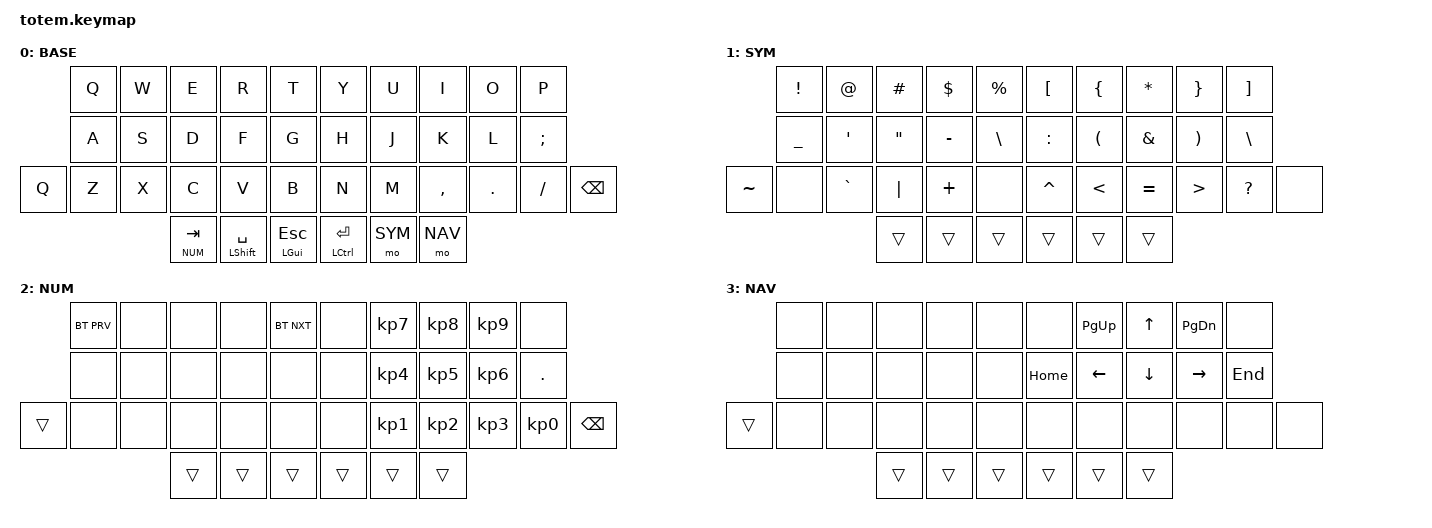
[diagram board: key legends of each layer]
//
//                                                        ▀▀▀▀▀     ▀▀▀▀▀          ▀▀█▀▀
//                                                        ▄▀▀▀▄  ▄  ▄▀▀▀▄  ▄  ▄▀▀▀▄  █  ▄▀▀▀▄
//                                                        █   █  █  █   █  █  █   █  █  █   █
//                                                         ▀▀▀   █   ▀▀▀   █   ▀▀▀   ▀   ▀▀▀
//                                                               █      ▄▄▄█▄▄▄    █   █  
//                                                               ▀      █  █  █     █▄█
//                                                             ▀▀▀▀▀    █  █  █      ▀
//                                                                      ▀  ▀  ▀
//
// ▄▄▄▄▄▄▄▄▄▄▄▄▄▄▄▄▄▄▄▄▄▄▄▄▄▄▄▄▄▄▄▄▄▄▄▄▄▄▄▄▄▄▄▄▄▄▄▄▄▄▄▄▄▄▄▄▄▄▄▄▄▄▄▄▄▄▄▄▄▄▄▄▄▄▄▄▄▄▄▄▄▄▄▄▄▄▄▄▄▄▄▄▄▄▄▄▄▄▄▄▄▄▄▄▄▄▄▄▄▄▄▄▄▄▄▄▄▄▄▄▄▄▄▄▄▄▄▄▄▄▄▄▄▄▄▄▄▄▄▄▄▄▄▄▄▄▄▄▄
       

#include <behaviors.dtsi>
#include <dt-bindings/zmk/keys.h>
#include <dt-bindings/zmk/bt.h>
#include <dt-bindings/zmk/outputs.h>

#define BASE 0
#define SYM  1
#define NUM  2
#define NAV  3



&mt {
  quick-tap-ms = <100>;
  global-quick-tap;
  flavor = "tap-preferred";
  tapping-term-ms = <170>;
};

/ {
    /*  combos { */
    /*         compatible = "zmk,combos"; */
    /*         combo_esc { */
    /*             timeout-ms = <50>; */
    /*             key-positions = <0 1>; */
    /*             bindings = <&kp ESC>; */
    /*         }; */
    /*         combo_tvp { */
    /*             timeout-ms = <100>; */
    /*             key-positions = <11 12 13>; */
    /*             bindings = <&tog TVP1>; */
    /*         }; */
    /* }; */
    /**/
    /* macros { */
    /*     gif: gif { */
    /*         label = "giphy"; */
    /*         compatible = "zmk,behavior-macro"; */
    /*         #binding-cells = <0>; */
    /*         bindings */
    /*             = <&macro_press &kp LSHFT> */
    /*             , <&macro_tap &kp N2> */
    /*             , <&macro_release &kp LSHFT> */
    /*             , <&macro_tap &kp G &kp I &kp F> */
    /*             ; */
    /*     }; */
    /* }; */

        keymap {
                compatible = "zmk,keymap";
// ▄▄▄▄▄▄▄▄▄▄▄▄▄▄▄▄▄▄▄▄▄▄▄▄▄▄▄▄▄▄▄▄▄▄▄▄▄▄▄▄▄▄▄▄▄▄▄▄▄▄▄▄▄▄▄▄▄▄▄▄▄▄▄▄▄▄▄▄▄▄▄▄▄▄▄▄▄▄▄▄▄▄▄▄▄▄▄▄▄▄▄▄▄▄▄▄▄▄▄▄▄▄▄▄▄▄▄▄▄▄▄▄▄▄▄▄▄▄▄▄▄▄▄▄▄▄▄▄▄▄▄▄▄▄▄▄▄▄▄▄▄▄▄▄▄▄▄▄▄

                base_layer {
// ┏━━━━━━━━━━━━━━━━━━━━━━━━━━━━━━━━━━━━━━━┓
label= "BASE"                              ;
// ┗━━━━━━━━━━━━━━━━━━━━━━━━━━━━━━━━━━━━━━━┛
//             ┏━━━━━━━━━━━┳━━━━━━━━━━━┳━━━━━━━━━━━┳━━━━━━━━━━━┳━━━━━━━━━━━┓   ┏━━━━━━━━━━━┳━━━━━━━━━━━┳━━━━━━━━━━━┳━━━━━━━━━━━┳━━━━━━━━━━━┓
//             ┃     Q     ┃     W     ┃     F     ┃     P     ┃     G     ┃   ┃     J     ┃     L     ┃     U     ┃     Y     ┃     ;     ┃
//             ┣━━━━━━━━━━━╋━━━━━━━━━━━╋━━━━━━━━━━━╋━━━━━━━━━━━╋━━━━━━━━━━━┫   ┣━━━━━━━━━━━╋━━━━━━━━━━━╋━━━━━━━━━━━╋━━━━━━━━━━━╋━━━━━━━━━━━┫
//             ┃     A     ┃     R     ┃     S     ┃     T     ┃     D     ┃   ┃     H     ┃     N     ┃     E     ┃     I     ┃     O     ┃
// ┏━━━━━━━━━━━╋━━━━━━━━━━━╋━━━━━━━━━━━╋━━━━━━━━━━━╋━━━━━━━━━━━╋━━━━━━━━━━━┫   ┣━━━━━━━━━━━╋━━━━━━━━━━━╋━━━━━━━━━━━╋━━━━━━━━━━━╋━━━━━━━━━━━╋━━━━━━━━━━━┓
// ┃     Q     ┃     Z     ┃     X     ┃     C     ┃     V     ┃     B     ┃   ┃     K     ┃     M     ┃     ,     ┃     .     ┃     /     ┃     \     ┃
// ┗━━━━━━━━━━━┻━━━━━━━━━━━┻━━━━━━━━━━━╋━━━━━━━━━━━╋━━━━━━━━━━━╋━━━━━━━━━━━┫   ┣━━━━━━━━━━━╋━━━━━━━━━━━╋━━━━━━━━━━━╋━━━━━━━━━━━┻━━━━━━━━━━━┻━━━━━━━━━━━┛
//                                     ┃    DEL    ┃    TAB    ┃    SPC    ┃   ┃   ENTER   ┃           ┃   BSPC    ┃
//                                     ┗━━━━━━━━━━━┻━━━━━━━━━━━┻━━━━━━━━━━━┛   ┗━━━━━━━━━━━┻━━━━━━━━━━━┻━━━━━━━━━━━┛
 bindings = <
// ╷           ╷           ╷           ╷           ╷           ╷           ╷   ╷           ╷           ╷           ╷           ╷           ╷           ╷

                &kp Q       &kp W       &kp E       &kp R              &kp T              &kp Y          &kp U       &kp I       &kp O       &kp P
                &kp A       &kp S       &kp D       &kp F              &kp G              &kp H          &kp J       &kp K       &kp L       &kp SEMI  
    &kp Q       &kp Z       &kp X       &kp C       &kp V              &kp B              &kp N          &kp M       &kp COMMA   &kp DOT     &kp FSLH    &kp BSPC
                                        &lt NUM TAB &mt LSHIFT SPACE   &mt LGUI ESC       &mt LCTRL RET  &mo SYM     &mo NAV
                        >;
                };

// ▄▄▄▄▄▄▄▄▄▄▄▄▄▄▄▄▄▄▄▄▄▄▄▄▄▄▄▄▄▄▄▄▄▄▄▄▄▄▄▄▄▄▄▄▄▄▄▄▄▄▄▄▄▄▄▄▄▄▄▄▄▄▄▄▄▄▄▄▄▄▄▄▄▄▄▄▄▄▄▄▄▄▄▄▄▄▄▄▄▄▄▄▄▄▄▄▄▄▄▄▄▄▄▄▄▄▄▄▄▄▄▄▄▄▄▄▄▄▄▄▄▄▄▄▄▄▄▄▄▄▄▄▄▄▄▄▄▄▄▄▄▄▄▄▄▄▄▄▄


                sym_layer {
// ┏━━━━━━━━━━━━━━━━━━━━━━━━━━━━━━━━━━━━━━━┓
label= "SYM"                               ;
// ┗━━━━━━━━━━━━━━━━━━━━━━━━━━━━━━━━━━━━━━━┛
//             ┏━━━━━━━━━━━┳━━━━━━━━━━━┳━━━━━━━━━━━┳━━━━━━━━━━━┳━━━━━━━━━━━┓   ┏━━━━━━━━━━━┳━━━━━━━━━━━┳━━━━━━━━━━━┳━━━━━━━━━━━┳━━━━━━━━━━━┓
//             ┃     !     ┃     @     ┃     #     ┃     $     ┃     %     ┃   ┃     ˆ     ┃     &     ┃     Ü     ┃     '     ┃     "     ┃
//             ┣━━━━━━━━━━━╋━━━━━━━━━━━╋━━━━━━━━━━━╋━━━━━━━━━━━╋━━━━━━━━━━━┫   ┣━━━━━━━━━━━╋━━━━━━━━━━━╋━━━━━━━━━━━╋━━━━━━━━━━━╋━━━━━━━━━━━┫
//             ┃     Ä     ┃           ┃    SZ     ┃           ┃           ┃   ┃   MUTE    ┃   YEN     ┃   EURO    ┃  POUND    ┃     Ö     ┃
// ┏━━━━━━━━━━━╋━━━━━━━━━━━╋━━━━━━━━━━━╋━━━━━━━━━━━╋━━━━━━━━━━━╋━━━━━━━━━━━┫   ┣━━━━━━━━━━━╋━━━━━━━━━━━╋━━━━━━━━━━━╋━━━━━━━━━━━╋━━━━━━━━━━━╋━━━━━━━━━━━┓
// ┃           ┃  EMAIL1   ┃  EMAIL2   ┃           ┃           ┃           ┃   ┃   VOL-    ┃   VOL+    ┃   LAST    ┃   NEXT    ┃     \     ┃           ┃
// ┗━━━━━━━━━━━┻━━━━━━━━━━━┻━━━━━━━━━━━╋━━━━━━━━━━━╋━━━━━━━━━━━╋━━━━━━━━━━━┫   ┣━━━━━━━━━━━╋━━━━━━━━━━━╋━━━━━━━━━━━╋━━━━━━━━━━━┻━━━━━━━━━━━┻━━━━━━━━━━━┛
//                                     ┃           ┃    GIF    ┃    ADJ    ┃   ┃           ┃           ┃           ┃
//                                     ┗━━━━━━━━━━━┻━━━━━━━━━━━┻━━━━━━━━━━━┛   ┗━━━━━━━━━━━┻━━━━━━━━━━━┻━━━━━━━━━━━┛
 bindings = <
// ╷           ╷           ╷           ╷           ╷           ╷           ╷   ╷           ╷           ╷           ╷           ╷           ╷           ╷

                &kp EXCL    &kp AT      &kp HASH    &kp DLLR    &kp PRCNT       &kp LBKT   &kp LBRC    &kp STAR   &kp RBRC    &kp RBKT      
                &kp UNDER   &kp APOS    &kp DQT     &kp MINUS   &kp BSLH        &kp COLON  &kp LPAR    &kp AMPS   &kp RPAR    &kp BSLH  
    &kp TILDE   &none       &kp GRAVE   &kp PIPE    &kp PLUS    &none           &kp CARET &kp LT      &kp EQUAL  &kp GT      &kp QMARK  &none
                                        &trans      &trans      &trans           &trans      &trans      &trans      
                        >;
                };

// ▄▄▄▄▄▄▄▄▄▄▄▄▄▄▄▄▄▄▄▄▄▄▄▄▄▄▄▄▄▄▄▄▄▄▄▄▄▄▄▄▄▄▄▄▄▄▄▄▄▄▄▄▄▄▄▄▄▄▄▄▄▄▄▄▄▄▄▄▄▄▄▄▄▄▄▄▄▄▄▄▄▄▄▄▄▄▄▄▄▄▄▄▄▄▄▄▄▄▄▄▄▄▄▄▄▄▄▄▄▄▄▄▄▄▄▄▄▄▄▄▄▄▄▄▄▄▄▄▄▄▄▄▄▄▄▄▄▄▄▄▄▄▄▄▄▄▄▄▄


                num_layer {
// ┏━━━━━━━━━━━━━━━━━━━━━━━━━━━━━━━━━━━━━━━┓
label= "NUM"                              ;
// ┗━━━━━━━━━━━━━━━━━━━━━━━━━━━━━━━━━━━━━━━┛
//             ┏━━━━━━━━━━━┳━━━━━━━━━━━┳━━━━━━━━━━━┳━━━━━━━━━━━┳━━━━━━━━━━━┓   ┏━━━━━━━━━━━┳━━━━━━━━━━━┳━━━━━━━━━━━┳━━━━━━━━━━━┳━━━━━━━━━━━┓
//             ┃           ┃           ┃     UP    ┃           ┃     {     ┃   ┃     }     ┃     7     ┃     8     ┃     9     ┃     +     ┃
//             ┣━━━━━━━━━━━╋━━━━━━━━━━━╋━━━━━━━━━━━╋━━━━━━━━━━━╋━━━━━━━━━━━┫   ┣━━━━━━━━━━━╋━━━━━━━━━━━╋━━━━━━━━━━━╋━━━━━━━━━━━╋━━━━━━━━━━━┫
//             ┃   SHIFT   ┃   LEFT    ┃    DOWN   ┃   RIGHT   ┃     [     ┃   ┃     ]     ┃     4     ┃     5     ┃     6     ┃     -     ┃
// ┏━━━━━━━━━━━╋━━━━━━━━━━━╋━━━━━━━━━━━╋━━━━━━━━━━━╋━━━━━━━━━━━╋━━━━━━━━━━━┫   ┣━━━━━━━━━━━╋━━━━━━━━━━━╋━━━━━━━━━━━╋━━━━━━━━━━━╋━━━━━━━━━━━╋━━━━━━━━━━━┓
// ┃           ┃           ┃   P UP    ┃  C LOCK   ┃  P DOWN   ┃     (     ┃   ┃     )     ┃     1     ┃     2     ┃     3     ┃     *     ┃           ┃
// ┗━━━━━━━━━━━┻━━━━━━━━━━━┻━━━━━━━━━━━╋━━━━━━━━━━━╋━━━━━━━━━━━╋━━━━━━━━━━━┫   ┣━━━━━━━━━━━╋━━━━━━━━━━━╋━━━━━━━━━━━╋━━━━━━━━━━━┻━━━━━━━━━━━┻━━━━━━━━━━━┛
//                                     ┃           ┃    TAB    ┃    SPC    ┃   ┃    DEL    ┃     0     ┃           ┃
//                                     ┗━━━━━━━━━━━┻━━━━━━━━━━━┻━━━━━━━━━━━┛   ┗━━━━━━━━━━━┻━━━━━━━━━━━┻━━━━━━━━━━━┛
 bindings = <
// ╷           ╷           ╷           ╷           ╷           ╷           ╷   ╷           ╷           ╷           ╷           ╷           ╷           ╷

                &bt BT_PRV  &none       &none       &none       &bt BT_NXT      &none       &kp KP_N7   &kp KP_N8   &kp KP_N9   &none       
                &none       &none       &none       &none       &none           &none       &kp KP_N4   &kp KP_N5   &kp KP_N6   &kp DOT     
    &trans      &none       &none       &none       &none       &none           &none       &kp KP_N1   &kp KP_N2   &kp KP_N3   &kp KP_N0       &kp BSPC      
                                        &trans      &trans      &trans          &trans       &trans       &trans      
                        >;
                };

// ▄▄▄▄▄▄▄▄▄▄▄▄▄▄▄▄▄▄▄▄▄▄▄▄▄▄▄▄▄▄▄▄▄▄▄▄▄▄▄▄▄▄▄▄▄▄▄▄▄▄▄▄▄▄▄▄▄▄▄▄▄▄▄▄▄▄▄▄▄▄▄▄▄▄▄▄▄▄▄▄▄▄▄▄▄▄▄▄▄▄▄▄▄▄▄▄▄▄▄▄▄▄▄▄▄▄▄▄▄▄▄▄▄▄▄▄▄▄▄▄▄▄▄▄▄▄▄▄▄▄▄▄▄▄▄▄▄▄▄▄▄▄▄▄▄▄▄▄▄


                nav_layer {
// ┏━━━━━━━━━━━━━━━━━━━━━━━━━━━━━━━━━━━━━━━┓
label= "NAV"                              ;
// ┗━━━━━━━━━━━━━━━━━━━━━━━━━━━━━━━━━━━━━━━┛
//             ┏━━━━━━━━━━━┳━━━━━━━━━━━┳━━━━━━━━━━━┳━━━━━━━━━━━┳━━━━━━━━━━━┓   ┏━━━━━━━━━━━┳━━━━━━━━━━━┳━━━━━━━━━━━┳━━━━━━━━━━━┳━━━━━━━━━━━┓
//             ┃           ┃           ┃     UP    ┃           ┃     {     ┃   ┃     }     ┃     7     ┃     8     ┃     9     ┃     +     ┃
//             ┣━━━━━━━━━━━╋━━━━━━━━━━━╋━━━━━━━━━━━╋━━━━━━━━━━━╋━━━━━━━━━━━┫   ┣━━━━━━━━━━━╋━━━━━━━━━━━╋━━━━━━━━━━━╋━━━━━━━━━━━╋━━━━━━━━━━━┫
//             ┃   SHIFT   ┃   LEFT    ┃    DOWN   ┃   RIGHT   ┃     [     ┃   ┃     ]     ┃     4     ┃     5     ┃     6     ┃     -     ┃
// ┏━━━━━━━━━━━╋━━━━━━━━━━━╋━━━━━━━━━━━╋━━━━━━━━━━━╋━━━━━━━━━━━╋━━━━━━━━━━━┫   ┣━━━━━━━━━━━╋━━━━━━━━━━━╋━━━━━━━━━━━╋━━━━━━━━━━━╋━━━━━━━━━━━╋━━━━━━━━━━━┓
// ┃           ┃           ┃   P UP    ┃  C LOCK   ┃  P DOWN   ┃     (     ┃   ┃     )     ┃     1     ┃     2     ┃     3     ┃     *     ┃           ┃
// ┗━━━━━━━━━━━┻━━━━━━━━━━━┻━━━━━━━━━━━╋━━━━━━━━━━━╋━━━━━━━━━━━╋━━━━━━━━━━━┫   ┣━━━━━━━━━━━╋━━━━━━━━━━━╋━━━━━━━━━━━╋━━━━━━━━━━━┻━━━━━━━━━━━┻━━━━━━━━━━━┛
//                                     ┃           ┃    TAB    ┃    SPC    ┃   ┃    DEL    ┃     0     ┃           ┃
//                                     ┗━━━━━━━━━━━┻━━━━━━━━━━━┻━━━━━━━━━━━┛   ┗━━━━━━━━━━━┻━━━━━━━━━━━┻━━━━━━━━━━━┛
 bindings = <
// ╷           ╷           ╷           ╷           ╷           ╷           ╷   ╷           ╷           ╷           ╷           ╷           ╷           ╷

                &none       &none       &none       &none       &none           &none       &kp PG_UP   &kp UP      &kp PG_DN   &none       
                &none       &none       &none       &none       &none           &kp HOME    &kp LEFT    &kp DOWN    &kp RIGHT   &kp END     
    &trans      &none       &none       &none       &none       &none           &none       &none       &none       &none       &none           &none
                                        &trans      &trans      &trans          &trans       &trans       &trans
                        >;
                };

// ▄▄▄▄▄▄▄▄▄▄▄▄▄▄▄▄▄▄▄▄▄▄▄▄▄▄▄▄▄▄▄▄▄▄▄▄▄▄▄▄▄▄▄▄▄▄▄▄▄▄▄▄▄▄▄▄▄▄▄▄▄▄▄▄▄▄▄▄▄▄▄▄▄▄▄▄▄▄▄▄▄▄▄▄▄▄▄▄▄▄▄▄▄▄▄▄▄▄▄▄▄▄▄▄▄▄▄▄▄▄▄▄▄▄▄▄▄▄▄▄▄▄▄▄▄▄▄▄▄▄▄▄▄▄▄▄▄▄▄▄▄▄▄▄▄▄▄▄▄

        };
};
